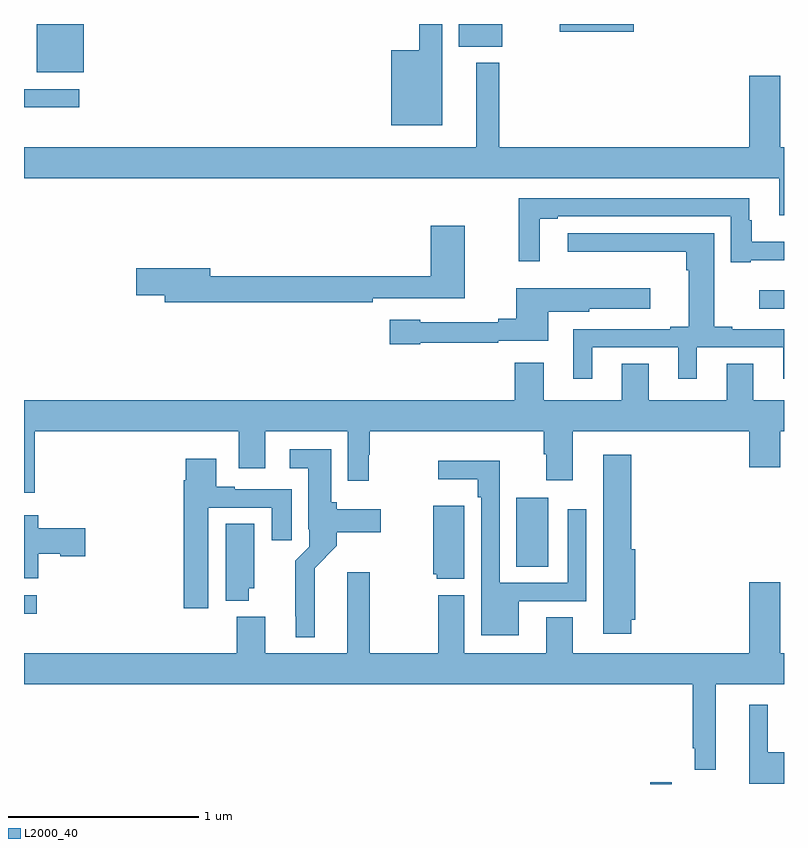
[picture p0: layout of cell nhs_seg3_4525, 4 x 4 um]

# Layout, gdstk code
import gdstk
lib = gdstk.Library(unit=1e-6, precision=1e-09)
def R(c, l, rs):  # rectangles x0, y0, x1, y1
    for r in rs: c.add(gdstk.rectangle(r[:2], r[2:], *l))
def P(c, l, *ps):  # polygons
    for p in ps: c.add(gdstk.Polygon(p, *l))
L2000_40 = (2000, 40)

nhs_seg3_4525 = lib.new_cell('nhs_seg3_4525')
R(nhs_seg3_4525, L2000_40, [(356.296,692.4,356.408,692.408), (353,693.297,353.068,693.393), (355.592,693.544,355.759,693.907), (356.871,694.902,357,694.999), (353,695.961,353.29,696.057), (353.066,696.146,353.314,696.4), (355.289,696.281,355.516,696.4), (355.82,696.359,356.209,696.4)])
P(nhs_seg3_4525, L2000_40, [(355.201,696.4),(355.08,696.4),(355.08,696.262),(354.932,696.262),(354.932,695.867),(355.201,695.867)],
  [(357,695.752),(356.98,695.752),(356.98,696.127),(356.816,696.127),(356.816,695.752),(355.501,695.752),(355.501,696.196),(355.379,696.196),(355.379,695.752),(353,695.752),(353,695.588),(356.975,695.588),(356.975,695.394),(357,695.394)],
  [(356.824,695.156),(357,695.156),(357,695.254),(356.83,695.254),(356.83,695.366),(356.818,695.366),(356.818,695.484),(355.605,695.484),(355.605,695.151),(355.714,695.151),(355.714,695.376),(355.81,695.376),(355.81,695.388),(356.721,695.388),(356.721,695.145),(356.824,695.145)],
  [(354.836,694.956),(355.32,694.956),(355.32,695.338),(355.142,695.338),(355.142,695.072),(353.98,695.072),(353.98,695.115),(353.592,695.115),(353.592,694.973),(353.741,694.973),(353.741,694.936),(354.836,694.936)],
  [(355.99,694.698),(356.444,694.698),(356.444,694.533),(356.542,694.533),(356.542,694.698),(356.996,694.698),(356.996,694.533),(357,694.533),(357,694.794),(356.728,694.794),(356.728,694.807),(356.632,694.807),(356.632,695.298),(355.863,695.298),(355.863,695.201),(356.486,695.201),(356.486,695.105),(356.498,695.105),(356.498,694.807),(356.402,694.807),(356.402,694.794),(355.892,694.794),(355.892,694.533),(355.99,694.533)],
  [(355.086,694.722),(355.496,694.722),(355.496,694.734),(355.759,694.734),(355.759,694.886),(355.974,694.886),(355.974,694.901),(356.296,694.901),(356.296,695.008),(355.592,695.008),(355.592,694.85),(355.496,694.85),(355.496,694.831),(355.086,694.831),(355.086,694.843),(354.924,694.843),(354.924,694.714),(355.086,694.714)],
  [(353.057,694.256),(354.131,694.256),(354.131,694.062),(354.271,694.062),(354.271,694.256),(354.705,694.256),(354.705,693.996),(354.814,693.996),(354.814,694.134),(354.821,694.134),(354.821,694.256),(355.736,694.256),(355.736,694.136),(355.748,694.136),(355.748,693.999),(355.888,693.999),(355.888,694.256),(356.816,694.256),(356.816,694.068),(356.98,694.068),(356.98,694.256),(357,694.256),(357,694.42),(356.839,694.42),(356.839,694.613),(356.699,694.613),(356.699,694.42),(356.287,694.42),(356.287,694.613),(356.147,694.613),(356.147,694.42),(355.735,694.42),(355.735,694.618),(355.583,694.618),(355.583,694.42),(353,694.42),(353,693.933),(353.057,693.933)],
  [(354.529,693.536),(354.647,693.654),(354.647,693.725),(354.877,693.725),(354.877,693.847),(354.647,693.847),(354.647,693.882),(354.616,693.882),(354.616,694.162),(354.399,694.162),(354.399,694.061),(354.497,694.061),(354.497,693.742),(354.501,693.742),(354.501,693.648),(354.427,693.574),(354.427,693.283),(354.431,693.283),(354.431,693.173),(354.529,693.173)],
  [(356.195,693.264),(356.216,693.264),(356.216,693.636),(356.195,693.636),(356.195,694.132),(356.048,694.132),(356.048,693.192),(356.195,693.192)],
  [(353.971,693.855),(354.305,693.855),(354.305,693.684),(354.409,693.684),(354.409,693.951),(354.109,693.951),(354.109,693.964),(354.013,693.964),(354.013,694.111),(353.852,694.111),(353.852,693.998),(353.84,693.998),(353.84,693.324),(353.971,693.324)],
  [(355.603,693.363),(355.959,693.363),(355.959,693.847),(355.863,693.847),(355.863,693.459),(355.503,693.459),(355.503,694.102),(355.179,694.102),(355.179,694.004),(355.387,694.004),(355.387,693.908),(355.407,693.908),(355.407,693.182),(355.603,693.182)],
  [(355.318,693.865),(355.154,693.865),(355.154,693.504),(355.173,693.504),(355.173,693.479),(355.318,693.479)],
  [(353.074,693.611),(353.19,693.611),(353.19,693.599),(353.323,693.599),(353.323,693.746),(353.074,693.746),(353.074,693.814),(353,693.814),(353,693.482),(353.074,693.482)],
  [(354.184,693.429),(354.211,693.429),(354.211,693.77),(354.062,693.77),(354.062,693.365),(354.184,693.365)],
  [(356.641,692.924),(357,692.924),(357,693.088),(356.98,693.088),(356.98,693.463),(356.816,693.463),(356.816,693.088),(355.888,693.088),(355.888,693.278),(355.748,693.278),(355.748,693.088),(355.318,693.088),(355.318,693.394),(355.18,693.394),(355.18,693.088),(354.819,693.088),(354.819,693.514),(354.701,693.514),(354.701,693.088),(354.271,693.088),(354.271,693.28),(354.119,693.28),(354.119,693.088),(353,693.088),(353,692.924),(356.52,692.924),(356.52,692.587),(356.53,692.587),(356.53,692.475),(356.641,692.475)],
  [(357,692.566),(356.914,692.566),(356.914,692.818),(356.816,692.818),(356.816,692.402),(357,692.402)])

lib.write_gds('nhs_seg3_4525.gds')
